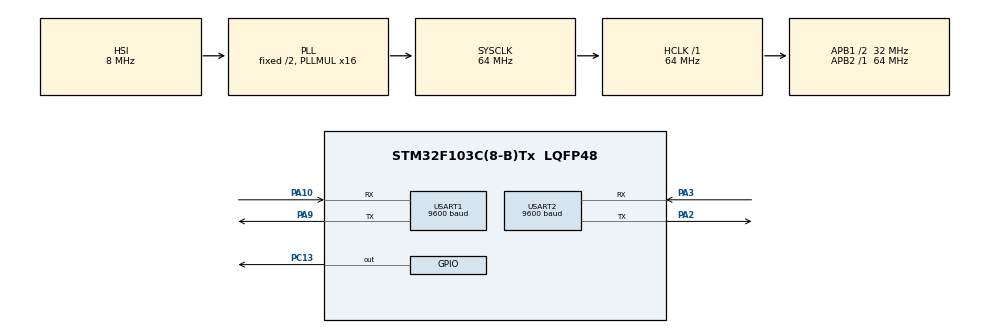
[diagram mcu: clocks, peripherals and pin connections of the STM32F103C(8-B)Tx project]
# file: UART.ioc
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Mcu.Family=STM32F1
Mcu.Name=STM32F103C(8-B)Tx
Mcu.Package=LQFP48
NVIC.PriorityGroup=NVIC_PRIORITYGROUP_4
NVIC.USART1_IRQn=true\:3\:0\:true\:false\:true\:true\:true
NVIC.USART2_IRQn=true\:4\:0\:true\:false\:true\:true\:true
PA10.Mode=Asynchronous
PA10.Signal=USART1_RX
PA13.Mode=Serial_Wire
PA13.Signal=SYS_JTMS-SWDIO
PA14.Mode=Serial_Wire
PA14.Signal=SYS_JTCK-SWCLK
PA2.Mode=Asynchronous
PA2.Signal=USART2_TX
PA3.Mode=Asynchronous
PA3.Signal=USART2_RX
PA9.Mode=Asynchronous
PA9.Signal=USART1_TX
PC13-TAMPER-RTC.Signal=GPIO_Output
ProjectManager.HeapSize=0x200
ProjectManager.StackSize=0x400
ProjectManager.TargetToolchain=MDK-ARM V5.32
RCC.AHBFreq_Value=64000000
RCC.APB1CLKDivider=RCC_HCLK_DIV2
RCC.APB1Freq_Value=32000000
RCC.APB1TimFreq_Value=64000000
RCC.APB2Freq_Value=64000000
RCC.APB2TimFreq_Value=64000000
RCC.HCLKFreq_Value=64000000
RCC.PLLMUL=RCC_PLL_MUL16
RCC.SYSCLKFreq_VALUE=64000000
RCC.SYSCLKSource=RCC_SYSCLKSOURCE_PLLCLK
RCC.USBFreq_Value=64000000
USART1.BaudRate=9600
USART1.VirtualMode=VM_ASYNC
USART2.BaudRate=9600
USART2.VirtualMode=VM_ASYNC
board=custom

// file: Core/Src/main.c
/* USER CODE BEGIN Header */
/**
  ******************************************************************************
  * @file           : main.c
  * @brief          : Main program body
  ******************************************************************************
  * @attention
  *
  * <h2><center>&copy; Copyright (c) 2021 STMicroelectronics.
  * All rights reserved.</center></h2>
  *
  * This software component is licensed by ST under BSD 3-Clause license,
  * the "License"; You may not use this file except in compliance with the
  * License. You may obtain a copy of the License at:
  *                        opensource.org/licenses/BSD-3-Clause
  *
  ******************************************************************************
  */
/* USER CODE END Header */
#include "main.h"

/* USER CODE BEGIN Includes */
#include <stdlib.h>
#include <stdio.h>
#include "string.h"
/* USER CODE END Includes */

UART_HandleTypeDef huart1;
UART_HandleTypeDef huart2;

/* USER CODE BEGIN PV */
char buff_esp_transmit[15];

uint8_t flag_gas_uart = 0;
uint8_t flag_temp_uart = 0;
uint8_t data_gas_rx;
char buff_gas_uart[10];
uint8_t index_gas_uart =0;

uint8_t data_temp_rx;
char buff_temp_uart[10];
uint8_t index_temp_uart =0;
int temp_value;
int gas_value;

uint32_t time_current = 0;
uint32_t time_transmit = 0;
/* USER CODE END PV */

void SystemClock_Config(void);
static void MX_GPIO_Init(void);
static void MX_USART2_UART_Init(void);
static void MX_USART1_UART_Init(void);

/* USER CODE BEGIN 0 */
void HAL_UART_RxCpltCallback(UART_HandleTypeDef *huart)
{
	if(huart->Instance == huart2.Instance)
	{
		buff_gas_uart[index_gas_uart++] = data_gas_rx;
		if(data_gas_rx == '\n')
		{
			flag_gas_uart = 1;
		}
		HAL_UART_Receive_IT(&huart2,&data_gas_rx,1);
	}

	if(huart->Instance == huart1.Instance)
	{
		buff_temp_uart[index_temp_uart++] = data_temp_rx;
		if(data_temp_rx == '\n')
		{
			flag_temp_uart = 1;
		}
		HAL_UART_Receive_IT(&huart1,&data_temp_rx,1);
	}
}

void Gas_Alarm()
{
	if(HAL_GetTick() - time_current > 500)
	{
		HAL_GPIO_TogglePin(GPIOC,GPIO_PIN_13);
		time_current = HAL_GetTick();
	}
}
void Put_Data()
{
	if(HAL_GetTick() - time_transmit >3000)
	{
		sprintf(buff_esp_transmit,"%d %d\n",temp_value,gas_value);
		HAL_UART_Transmit(&huart2,(uint8_t *)buff_esp_transmit,(strlen(buff_esp_transmit)),100);
	//	memset(buff_esp_transmit,0,15);
		time_transmit = HAL_GetTick();
	}
}
void Data_Handle()
{
	if(flag_gas_uart == 1)
		{ // gasvalue = 4 byte.
			temp_value = atoi(buff_gas_uart);
			memset(buff_gas_uart,0,index_gas_uart);
		  index_gas_uart = 0;
	  	flag_gas_uart = 0;
		}
		if(flag_temp_uart == 1)
		{
			gas_value = atoi(buff_temp_uart);
			memset(buff_temp_uart,0,index_temp_uart);
		  index_temp_uart = 0;
	  	flag_temp_uart = 0;
		}
}
/* USER CODE END 0 */

int main(void)
{

  /* MCU Configuration--------------------------------------------------------*/

  /* Reset of all peripherals, Initializes the Flash interface and the Systick. */
  HAL_Init();

  /* Configure the system clock */
  SystemClock_Config();

  /* Initialize all configured peripherals */
  MX_GPIO_Init();
  MX_USART2_UART_Init();
  MX_USART1_UART_Init();
  /* USER CODE BEGIN 2 */
	HAL_UART_Receive_IT(&huart2,&data_gas_rx,1);
	HAL_UART_Receive_IT(&huart1,&data_temp_rx,1);
  /* USER CODE END 2 */

  /* Infinite loop */
  while (1)
  {

    /* USER CODE BEGIN 3 */
		Data_Handle();
		Put_Data();
		if(temp_value >= 50 || gas_value >= 1000)
		{
			Gas_Alarm();
		}
		else
		{
			HAL_GPIO_WritePin(GPIOC,GPIO_PIN_13,GPIO_PIN_SET);
		}

  }
  /* USER CODE END 3 */
}

void SystemClock_Config(void)
{
  RCC_OscInitTypeDef RCC_OscInitStruct = {0};
  RCC_ClkInitTypeDef RCC_ClkInitStruct = {0};

  /** Initializes the RCC Oscillators according to the specified parameters
  * in the RCC_OscInitTypeDef structure.
  */
  RCC_OscInitStruct.OscillatorType = RCC_OSCILLATORTYPE_HSI;
  RCC_OscInitStruct.HSIState = RCC_HSI_ON;
  RCC_OscInitStruct.HSICalibrationValue = RCC_HSICALIBRATION_DEFAULT;
  RCC_OscInitStruct.PLL.PLLState = RCC_PLL_ON;
  RCC_OscInitStruct.PLL.PLLSource = RCC_PLLSOURCE_HSI_DIV2;
  RCC_OscInitStruct.PLL.PLLMUL = RCC_PLL_MUL16;
  if (HAL_RCC_OscConfig(&RCC_OscInitStruct) != HAL_OK)
  {
    Error_Handler();
  }
  /** Initializes the CPU, AHB and APB buses clocks
  */
  RCC_ClkInitStruct.ClockType = RCC_CLOCKTYPE_HCLK|RCC_CLOCKTYPE_SYSCLK
                              |RCC_CLOCKTYPE_PCLK1|RCC_CLOCKTYPE_PCLK2;
  RCC_ClkInitStruct.SYSCLKSource = RCC_SYSCLKSOURCE_PLLCLK;
  RCC_ClkInitStruct.AHBCLKDivider = RCC_SYSCLK_DIV1;
  RCC_ClkInitStruct.APB1CLKDivider = RCC_HCLK_DIV2;
  RCC_ClkInitStruct.APB2CLKDivider = RCC_HCLK_DIV1;

  if (HAL_RCC_ClockConfig(&RCC_ClkInitStruct, FLASH_LATENCY_2) != HAL_OK)
  {
    Error_Handler();
  }
}

static void MX_USART1_UART_Init(void)
{

  huart1.Instance = USART1;
  huart1.Init.BaudRate = 9600;
  huart1.Init.WordLength = UART_WORDLENGTH_8B;
  huart1.Init.StopBits = UART_STOPBITS_1;
  huart1.Init.Parity = UART_PARITY_NONE;
  huart1.Init.Mode = UART_MODE_TX_RX;
  huart1.Init.HwFlowCtl = UART_HWCONTROL_NONE;
  huart1.Init.OverSampling = UART_OVERSAMPLING_16;
  if (HAL_UART_Init(&huart1) != HAL_OK)
  {
    Error_Handler();
  }

}

static void MX_USART2_UART_Init(void)
{

  huart2.Instance = USART2;
  huart2.Init.BaudRate = 9600;
  huart2.Init.WordLength = UART_WORDLENGTH_8B;
  huart2.Init.StopBits = UART_STOPBITS_1;
  huart2.Init.Parity = UART_PARITY_NONE;
  huart2.Init.Mode = UART_MODE_TX_RX;
  huart2.Init.HwFlowCtl = UART_HWCONTROL_NONE;
  huart2.Init.OverSampling = UART_OVERSAMPLING_16;
  if (HAL_UART_Init(&huart2) != HAL_OK)
  {
    Error_Handler();
  }

}

static void MX_GPIO_Init(void)
{
  GPIO_InitTypeDef GPIO_InitStruct = {0};

  /* GPIO Ports Clock Enable */
  __HAL_RCC_GPIOC_CLK_ENABLE();
  __HAL_RCC_GPIOA_CLK_ENABLE();

  /*Configure GPIO pin Output Level */
  HAL_GPIO_WritePin(GPIOC, GPIO_PIN_13, GPIO_PIN_RESET);

  /*Configure GPIO pin : PC13 */
  GPIO_InitStruct.Pin = GPIO_PIN_13;
  GPIO_InitStruct.Mode = GPIO_MODE_OUTPUT_PP;
  GPIO_InitStruct.Pull = GPIO_NOPULL;
  GPIO_InitStruct.Speed = GPIO_SPEED_FREQ_LOW;
  HAL_GPIO_Init(GPIOC, &GPIO_InitStruct);

}

void Error_Handler(void)
{
  __disable_irq();
  while (1)
  {
  }
}

/************************ (C) COPYRIGHT STMicroelectronics *****END OF FILE****/
